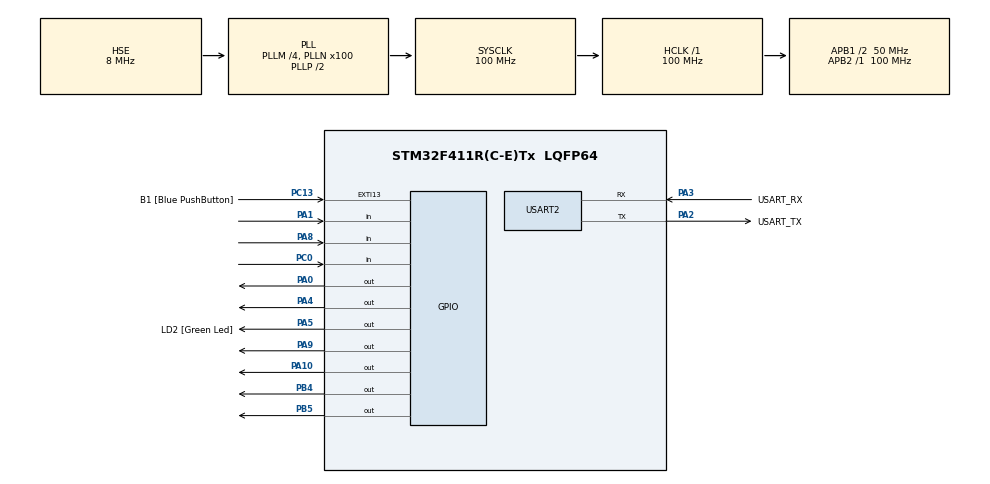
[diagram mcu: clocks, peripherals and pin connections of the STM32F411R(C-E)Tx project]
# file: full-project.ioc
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Mcu.Family=STM32F4
Mcu.Name=STM32F411R(C-E)Tx
Mcu.Package=LQFP64
NVIC.PriorityGroup=NVIC_PRIORITYGROUP_0
PA0-WKUP.Signal=GPIO_Output
PA1.GPIO_PuPd=GPIO_PULLUP
PA1.Signal=GPIO_Input
PA10.Signal=GPIO_Output
PA13.GPIO_Label=TMS
PA13.Mode=Serial_Wire
PA13.Signal=SYS_JTMS-SWDIO
PA14.GPIO_Label=TCK
PA14.Mode=Serial_Wire
PA14.Signal=SYS_JTCK-SWCLK
PA2.GPIO_Label=USART_TX
PA2.Mode=Asynchronous
PA2.Signal=USART2_TX
PA3.GPIO_Label=USART_RX
PA3.Mode=Asynchronous
PA3.Signal=USART2_RX
PA4.Signal=GPIO_Output
PA5.GPIO_Label=LD2 [Green Led]
PA5.Signal=GPIO_Output
PA8.Signal=GPIO_Input
PA9.Signal=GPIO_Output
PB3.GPIO_Label=SWO
PB3.Signal=SYS_JTDO-SWO
PB4.Signal=GPIO_Output
PB5.Signal=GPIO_Output
PC0.Signal=GPIO_Input
PC13-ANTI_TAMP.GPIO_Label=B1 [Blue PushButton]
PC13-ANTI_TAMP.GPIO_ModeDefaultEXTI=GPIO_MODE_IT_FALLING
PC13-ANTI_TAMP.Signal=GPXTI13
PC14-OSC32_IN.Signal=RCC_OSC32_IN
PC15-OSC32_OUT.Signal=RCC_OSC32_OUT
PH0\ -\ OSC_IN.Mode=HSE-External-Oscillator
PH0\ -\ OSC_IN.Signal=RCC_OSC_IN
PH1\ -\ OSC_OUT.Mode=HSE-External-Oscillator
PH1\ -\ OSC_OUT.Signal=RCC_OSC_OUT
ProjectManager.HeapSize=0x200
ProjectManager.StackSize=0x400
ProjectManager.TargetToolchain=STM32CubeIDE
RCC.48MHZClocksFreq_Value=50000000
RCC.AHBFreq_Value=100000000
RCC.APB1CLKDivider=RCC_HCLK_DIV2
RCC.APB1Freq_Value=50000000
RCC.APB1TimFreq_Value=100000000
RCC.APB2Freq_Value=100000000
RCC.APB2TimFreq_Value=100000000
RCC.CortexFreq_Value=100000000
RCC.FLatency-AdvancedSettings=FLASH_LATENCY_3
RCC.HCLKFreq_Value=100000000
RCC.HSE_VALUE=8000000
RCC.HSI_VALUE=16000000
RCC.PLLM=4
RCC.PLLN=100
RCC.PLLSourceVirtual=RCC_PLLSOURCE_HSE
RCC.SYSCLKFreq_VALUE=100000000
RCC.SYSCLKSource=RCC_SYSCLKSOURCE_PLLCLK
RCC.VCOOutputFreq_Value=200000000
TIM1.Prescaler=99
USART2.VirtualMode=VM_ASYNC
VP_TIM1_VS_ClockSourceINT.Mode=Internal
board=NUCLEO-F411RE

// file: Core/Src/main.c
/* USER CODE BEGIN Header */
/**
  ******************************************************************************
  * @file           : main.c
  * @brief          : Main program body
  ******************************************************************************
  * @attention
  *
  * Copyright (c) 2025 STMicroelectronics.
  * All rights reserved.
  *
  * This software is licensed under terms that can be found in the LICENSE file
  * in the root directory of this software component.
  * If no LICENSE file comes with this software, it is provided AS-IS.
  *
  ******************************************************************************
  */
/* USER CODE END Header */
#include "main.h"

TIM_HandleTypeDef htim1;

UART_HandleTypeDef huart2;

/* USER CODE BEGIN PV */
#define TRIG_PIN GPIO_PIN_9
#define TRIG_PORT GPIOA
#define ECHO_PIN GPIO_PIN_8
#define ECHO_PORT GPIOA
uint32_t pMillis;
uint32_t Value1 = 0;
uint32_t Value2 = 0;
uint16_t Distance  = 0;

/* USER CODE END PV */

void SystemClock_Config(void);
static void MX_GPIO_Init(void);
static void MX_USART2_UART_Init(void);
static void MX_TIM1_Init(void);

int main(void)
{

  /* MCU Configuration--------------------------------------------------------*/

  /* Reset of all peripherals, Initializes the Flash interface and the Systick. */
  HAL_Init();

  /* Configure the system clock */
  SystemClock_Config();

  /* Initialize all configured peripherals */
  MX_GPIO_Init();
  MX_USART2_UART_Init();
  MX_TIM1_Init();
  /* USER CODE BEGIN 2 */
  HAL_TIM_Base_Start(&htim1);
   HAL_GPIO_WritePin(TRIG_PORT, TRIG_PIN, GPIO_PIN_RESET);
   static uint8_t last_mode = 2; // กำหนดค่าเริ่มต้นที่ไม่ใช่ 0 หรือ 1
  /* USER CODE END 2 */

  /* Infinite loop */
  /* USER CODE BEGIN WHILE */
  while (1)
  {          uint8_t mode =HAL_GPIO_ReadPin(GPIOC, GPIO_PIN_0);
             if (mode != last_mode)
              {
                HAL_GPIO_WritePin(GPIOB, GPIO_PIN_4, GPIO_PIN_RESET);
                HAL_GPIO_WritePin(GPIOB, GPIO_PIN_5, GPIO_PIN_RESET);
                HAL_GPIO_WritePin(GPIOA, GPIO_PIN_10, GPIO_PIN_RESET);

                last_mode = mode;
                HAL_Delay(10);
              }

	         HAL_GPIO_WritePin(TRIG_PORT, TRIG_PIN, GPIO_PIN_SET);
	 	     __HAL_TIM_SET_COUNTER(&htim1, 0);
	 	     while (__HAL_TIM_GET_COUNTER (&htim1) < 10);
	 	     HAL_GPIO_WritePin(TRIG_PORT, TRIG_PIN, GPIO_PIN_RESET);

	 	     pMillis = HAL_GetTick();
	 	     while (!(HAL_GPIO_ReadPin (ECHO_PORT, ECHO_PIN)) && pMillis + 10 >  HAL_GetTick());
	 	     Value1 = __HAL_TIM_GET_COUNTER (&htim1);

	 	     pMillis = HAL_GetTick();
	 	     while ((HAL_GPIO_ReadPin (ECHO_PORT, ECHO_PIN)) && pMillis + 50 > HAL_GetTick());
	 	     Value2 = __HAL_TIM_GET_COUNTER (&htim1);

	 	     Distance = (Value2-Value1)* 0.034/2;

	 	     if( Distance>=20 ) {
	 	    	 HAL_GPIO_WritePin(GPIOA, GPIO_PIN_5, GPIO_PIN_RESET);
	 	    	 HAL_GPIO_WritePin(GPIOB, GPIO_PIN_4, GPIO_PIN_RESET);
	 	    	 HAL_GPIO_WritePin(GPIOB, GPIO_PIN_5, GPIO_PIN_RESET);
	 	    	 HAL_GPIO_WritePin(GPIOA, GPIO_PIN_10, GPIO_PIN_RESET);
	 	     }
	 	     if( Distance<20 )  {
	 	    	 HAL_GPIO_WritePin(GPIOA, GPIO_PIN_5, GPIO_PIN_SET);

	 	    	 if(mode==0) HAL_GPIO_WritePin(GPIOB, GPIO_PIN_5, GPIO_PIN_SET);
	 	    	 else {
	 	    		HAL_GPIO_WritePin(GPIOA, GPIO_PIN_10, GPIO_PIN_SET); //sound on
	 	    		HAL_GPIO_WritePin(GPIOB, GPIO_PIN_4, GPIO_PIN_SET);
	 	    	 }
	 	     }
	 		HAL_Delay(50);

    /* USER CODE END WHILE */

  }
}

void SystemClock_Config(void)
{
  RCC_OscInitTypeDef RCC_OscInitStruct = {0};
  RCC_ClkInitTypeDef RCC_ClkInitStruct = {0};

  /** Configure the main internal regulator output voltage
  */
  __HAL_RCC_PWR_CLK_ENABLE();
  __HAL_PWR_VOLTAGESCALING_CONFIG(PWR_REGULATOR_VOLTAGE_SCALE1);

  /** Initializes the RCC Oscillators according to the specified parameters
  * in the RCC_OscInitTypeDef structure.
  */
  RCC_OscInitStruct.OscillatorType = RCC_OSCILLATORTYPE_HSE;
  RCC_OscInitStruct.HSEState = RCC_HSE_ON;
  RCC_OscInitStruct.PLL.PLLState = RCC_PLL_ON;
  RCC_OscInitStruct.PLL.PLLSource = RCC_PLLSOURCE_HSE;
  RCC_OscInitStruct.PLL.PLLM = 4;
  RCC_OscInitStruct.PLL.PLLN = 100;
  RCC_OscInitStruct.PLL.PLLP = RCC_PLLP_DIV2;
  RCC_OscInitStruct.PLL.PLLQ = 4;
  if (HAL_RCC_OscConfig(&RCC_OscInitStruct) != HAL_OK)
  {
    Error_Handler();
  }

  /** Initializes the CPU, AHB and APB buses clocks
  */
  RCC_ClkInitStruct.ClockType = RCC_CLOCKTYPE_HCLK|RCC_CLOCKTYPE_SYSCLK
                              |RCC_CLOCKTYPE_PCLK1|RCC_CLOCKTYPE_PCLK2;
  RCC_ClkInitStruct.SYSCLKSource = RCC_SYSCLKSOURCE_PLLCLK;
  RCC_ClkInitStruct.AHBCLKDivider = RCC_SYSCLK_DIV1;
  RCC_ClkInitStruct.APB1CLKDivider = RCC_HCLK_DIV2;
  RCC_ClkInitStruct.APB2CLKDivider = RCC_HCLK_DIV1;

  if (HAL_RCC_ClockConfig(&RCC_ClkInitStruct, FLASH_LATENCY_3) != HAL_OK)
  {
    Error_Handler();
  }
}

static void MX_TIM1_Init(void)
{

  TIM_ClockConfigTypeDef sClockSourceConfig = {0};
  TIM_MasterConfigTypeDef sMasterConfig = {0};

  htim1.Instance = TIM1;
  htim1.Init.Prescaler = 99;
  htim1.Init.CounterMode = TIM_COUNTERMODE_UP;
  htim1.Init.Period = 65535;
  htim1.Init.ClockDivision = TIM_CLOCKDIVISION_DIV1;
  htim1.Init.RepetitionCounter = 0;
  htim1.Init.AutoReloadPreload = TIM_AUTORELOAD_PRELOAD_DISABLE;
  if (HAL_TIM_Base_Init(&htim1) != HAL_OK)
  {
    Error_Handler();
  }
  sClockSourceConfig.ClockSource = TIM_CLOCKSOURCE_INTERNAL;
  if (HAL_TIM_ConfigClockSource(&htim1, &sClockSourceConfig) != HAL_OK)
  {
    Error_Handler();
  }
  sMasterConfig.MasterOutputTrigger = TIM_TRGO_RESET;
  sMasterConfig.MasterSlaveMode = TIM_MASTERSLAVEMODE_DISABLE;
  if (HAL_TIMEx_MasterConfigSynchronization(&htim1, &sMasterConfig) != HAL_OK)
  {
    Error_Handler();
  }

}

static void MX_USART2_UART_Init(void)
{

  huart2.Instance = USART2;
  huart2.Init.BaudRate = 115200;
  huart2.Init.WordLength = UART_WORDLENGTH_8B;
  huart2.Init.StopBits = UART_STOPBITS_1;
  huart2.Init.Parity = UART_PARITY_NONE;
  huart2.Init.Mode = UART_MODE_TX_RX;
  huart2.Init.HwFlowCtl = UART_HWCONTROL_NONE;
  huart2.Init.OverSampling = UART_OVERSAMPLING_16;
  if (HAL_UART_Init(&huart2) != HAL_OK)
  {
    Error_Handler();
  }

}

static void MX_GPIO_Init(void)
{
  GPIO_InitTypeDef GPIO_InitStruct = {0};

  /* GPIO Ports Clock Enable */
  __HAL_RCC_GPIOC_CLK_ENABLE();
  __HAL_RCC_GPIOH_CLK_ENABLE();
  __HAL_RCC_GPIOA_CLK_ENABLE();
  __HAL_RCC_GPIOB_CLK_ENABLE();

  /*Configure GPIO pin Output Level */
  HAL_GPIO_WritePin(GPIOA, GPIO_PIN_0|GPIO_PIN_4|LD2_Pin|GPIO_PIN_9
                          |GPIO_PIN_10, GPIO_PIN_RESET);

  /*Configure GPIO pin Output Level */
  HAL_GPIO_WritePin(GPIOB, GPIO_PIN_4|GPIO_PIN_5, GPIO_PIN_RESET);

  /*Configure GPIO pin : B1_Pin */
  GPIO_InitStruct.Pin = B1_Pin;
  GPIO_InitStruct.Mode = GPIO_MODE_IT_FALLING;
  GPIO_InitStruct.Pull = GPIO_NOPULL;
  HAL_GPIO_Init(B1_GPIO_Port, &GPIO_InitStruct);

  /*Configure GPIO pin : PC0 */
  GPIO_InitStruct.Pin = GPIO_PIN_0;
  GPIO_InitStruct.Mode = GPIO_MODE_INPUT;
  GPIO_InitStruct.Pull = GPIO_NOPULL;
  HAL_GPIO_Init(GPIOC, &GPIO_InitStruct);

  /*Configure GPIO pins : PA0 PA4 LD2_Pin PA9
                           PA10 */
  GPIO_InitStruct.Pin = GPIO_PIN_0|GPIO_PIN_4|LD2_Pin|GPIO_PIN_9
                          |GPIO_PIN_10;
  GPIO_InitStruct.Mode = GPIO_MODE_OUTPUT_PP;
  GPIO_InitStruct.Pull = GPIO_NOPULL;
  GPIO_InitStruct.Speed = GPIO_SPEED_FREQ_LOW;
  HAL_GPIO_Init(GPIOA, &GPIO_InitStruct);

  /*Configure GPIO pin : PA1 */
  GPIO_InitStruct.Pin = GPIO_PIN_1;
  GPIO_InitStruct.Mode = GPIO_MODE_INPUT;
  GPIO_InitStruct.Pull = GPIO_PULLUP;
  HAL_GPIO_Init(GPIOA, &GPIO_InitStruct);

  /*Configure GPIO pin : PA8 */
  GPIO_InitStruct.Pin = GPIO_PIN_8;
  GPIO_InitStruct.Mode = GPIO_MODE_INPUT;
  GPIO_InitStruct.Pull = GPIO_NOPULL;
  HAL_GPIO_Init(GPIOA, &GPIO_InitStruct);

  /*Configure GPIO pins : PB4 PB5 */
  GPIO_InitStruct.Pin = GPIO_PIN_4|GPIO_PIN_5;
  GPIO_InitStruct.Mode = GPIO_MODE_OUTPUT_PP;
  GPIO_InitStruct.Pull = GPIO_NOPULL;
  GPIO_InitStruct.Speed = GPIO_SPEED_FREQ_LOW;
  HAL_GPIO_Init(GPIOB, &GPIO_InitStruct);

}

void Error_Handler(void)
{
  __disable_irq();
  while (1)
  {
  }
}
